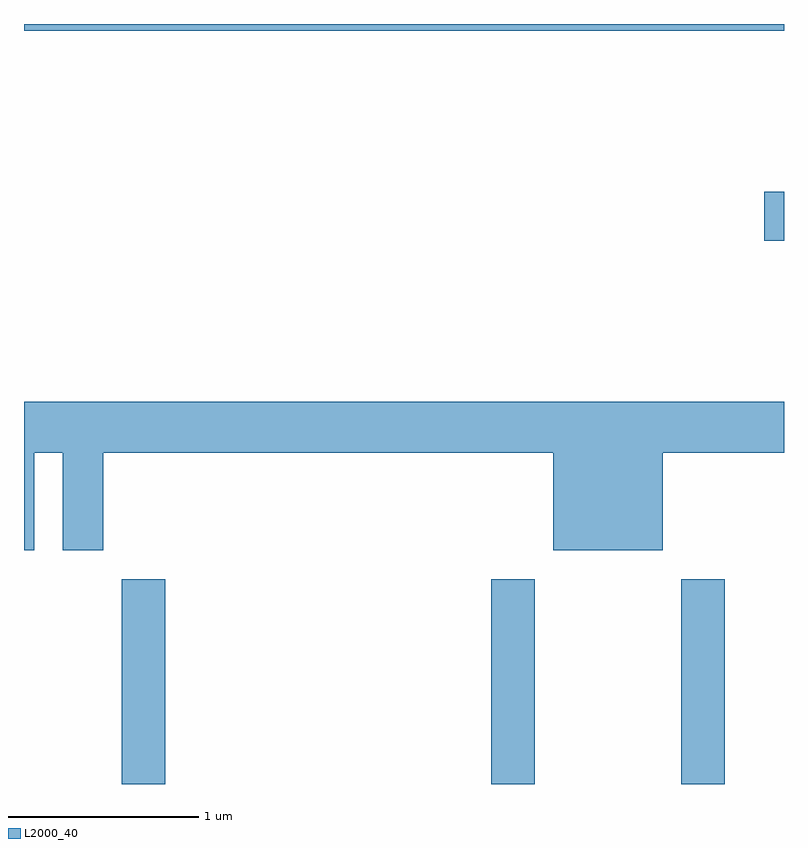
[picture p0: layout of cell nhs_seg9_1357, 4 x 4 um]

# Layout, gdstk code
import gdstk
lib = gdstk.Library(unit=1e-6, precision=1e-09)
def R(c, l, rs):  # rectangles x0, y0, x1, y1
    for r in rs: c.add(gdstk.rectangle(r[:2], r[2:], *l))
def P(c, l, *ps):  # polygons
    for p in ps: c.add(gdstk.Polygon(p, *l))
L2000_40 = (2000, 40)

nhs_seg9_1357 = lib.new_cell('nhs_seg9_1357')
R(nhs_seg9_1357, L2000_40, [(224.126,2074.432,224.354,2075.509), (226.071,2074.432,226.299,2075.509), (227.071,2074.432,227.299,2075.509), (227.506,2077.291,227.611,2077.549), (223.611,2078.396,227.611,2078.432)])
P(nhs_seg9_1357, L2000_40, [(223.611,2075.661),(223.664,2075.661),(223.664,2076.176),(223.816,2076.176),(223.816,2075.661),(224.029,2075.661),(224.029,2076.176),(226.396,2076.176),(226.396,2075.661),(226.974,2075.661),(226.974,2076.176),(227.611,2076.176),(227.611,2076.444),(223.611,2076.444)])

lib.write_gds('nhs_seg9_1357.gds')
